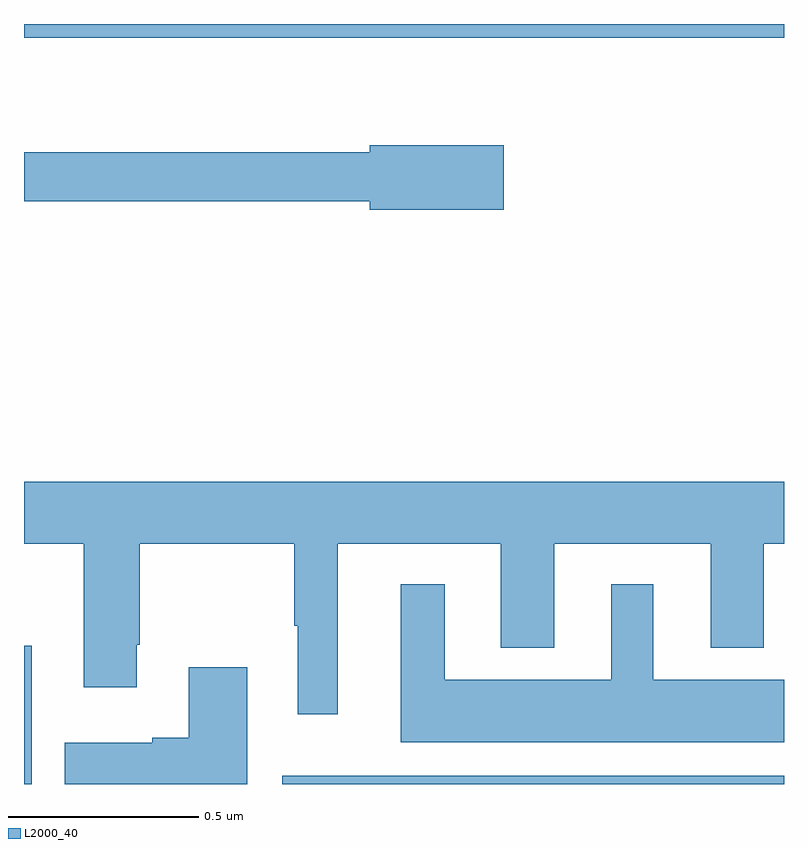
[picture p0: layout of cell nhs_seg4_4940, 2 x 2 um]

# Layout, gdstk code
import gdstk
lib = gdstk.Library(unit=1e-6, precision=1e-09)
def R(c, l, rs):  # rectangles x0, y0, x1, y1
    for r in rs: c.add(gdstk.rectangle(r[:2], r[2:], *l))
def P(c, l, *ps):  # polygons
    for p in ps: c.add(gdstk.Polygon(p, *l))
L2000_40 = (2000, 40)

nhs_seg4_4940 = lib.new_cell('nhs_seg4_4940')
R(nhs_seg4_4940, L2000_40, [(172,750.9,172.02,751.264), (172.68,750.9,174,750.922), (172,752.864,174,752.9)])
P(nhs_seg4_4940, L2000_40, [(173.263,752.581),(172.91,752.581),(172.91,752.563),(172,752.563),(172,752.434),(172.91,752.434),(172.91,752.411),(173.263,752.411)],
  [(172,751.532),(172.157,751.532),(172.157,751.155),(172.297,751.155),(172.297,751.267),(172.305,751.267),(172.305,751.532),(172.711,751.532),(172.711,751.316),(172.721,751.316),(172.721,751.083),(172.825,751.083),(172.825,751.532),(173.255,751.532),(173.255,751.259),(173.395,751.259),(173.395,751.532),(173.807,751.532),(173.807,751.259),(173.947,751.259),(173.947,751.532),(174,751.532),(174,751.696),(172,751.696)],
  [(174,751.174),(173.656,751.174),(173.656,751.426),(173.546,751.426),(173.546,751.174),(173.107,751.174),(173.107,751.426),(172.991,751.426),(172.991,751.01),(174,751.01)],
  [(172.588,751.207),(172.433,751.207),(172.433,751.022),(172.337,751.022),(172.337,751.009),(172.107,751.009),(172.107,750.9),(172.588,750.9)])

lib.write_gds('nhs_seg4_4940.gds')
